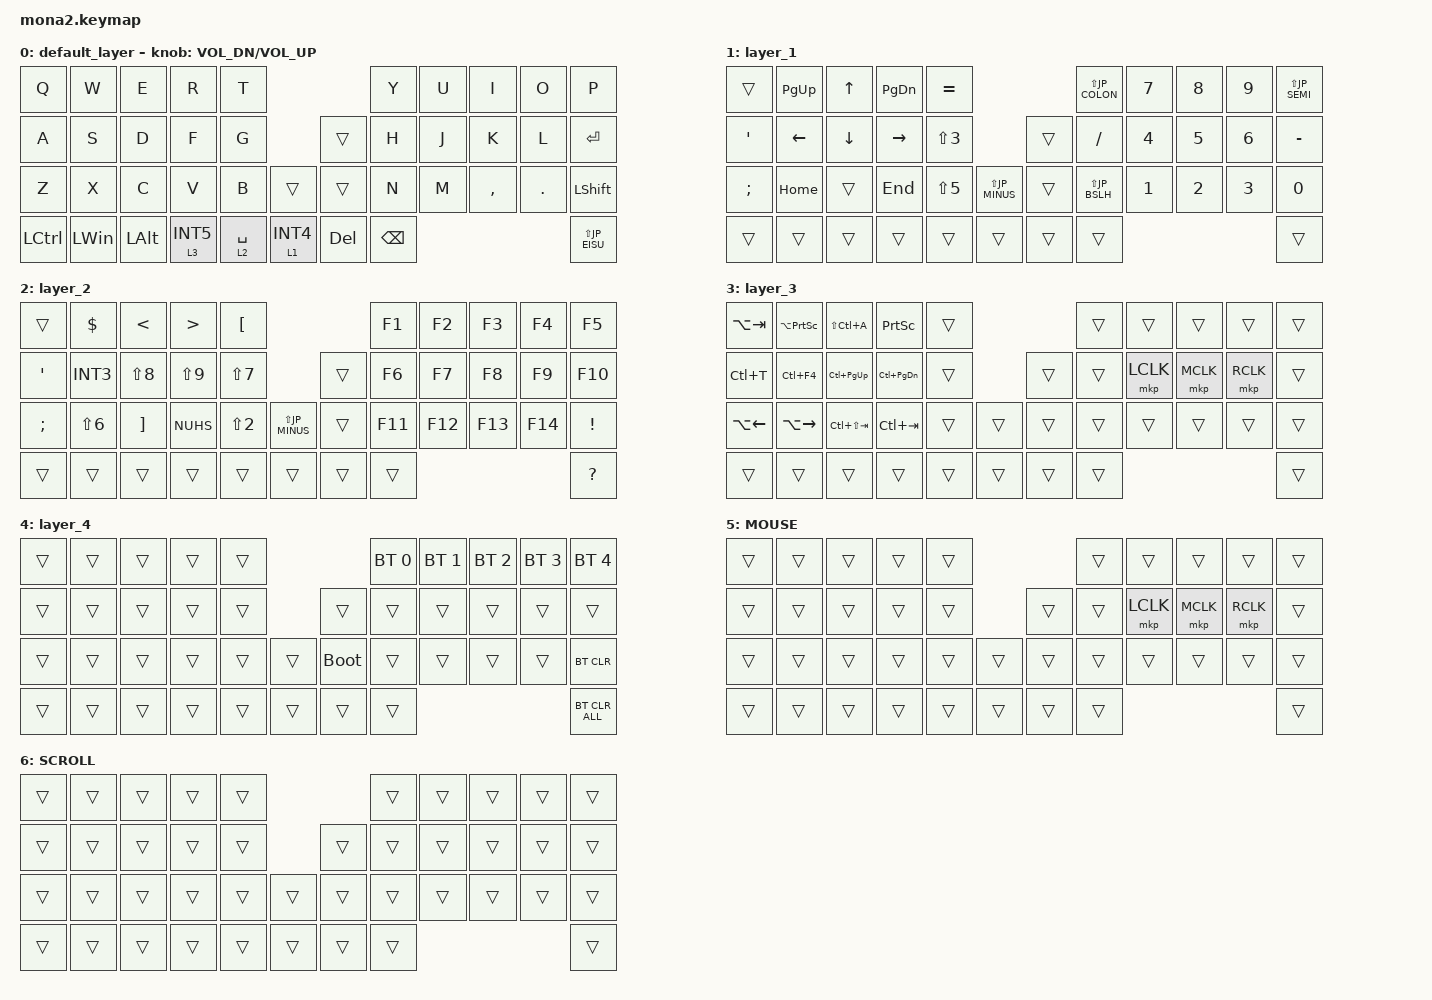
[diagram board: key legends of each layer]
#include <input/processors.dtsi>
#include <dt-bindings/zmk/input_transform.h>
#include <zephyr/dt-bindings/input/input-event-codes.h>
#include <behaviors.dtsi>
#include <dt-bindings/zmk/bt.h>
#include <dt-bindings/zmk/keys.h>
#include <dt-bindings/zmk/pointing.h>

#define ZMK_POINTING_DEFAULT_SCRL_VAL 100
#define MOUSE 5
#define SCROLL 6

// OS設定を日本語キーボードのまま使用するための変換定義

#define JP_ZKHK  GRAVE        // Zenkaku ↔ Hankaku ↔ Kanji (半角 ↔ 全角 ↔ 漢字)
#define JP_MINUS MINUS        // -
#define JP_CARET EQUAL        // ^
#define JP_YEN   INT3         // ¥
#define JP_AT    LBKT         // @
#define JP_LBKT  RBKT         // [
#define JP_EISU  CAPS         // Eisū (英数)
#define JP_SEMI  SEMI         // ;
#define JP_COLON SQT          // :
#define JP_RBKT  NUHS         // ]
#define JP_COMMA COMMA        // ,
#define JP_DOT   DOT          // .
#define JP_SLASH SLASH        // /
#define JP_BSLH  INT1         // (backslash)
#define JP_MHEN  INT5         // Muhenkan (無変換)
#define JP_HENK  INT4         // Henkan (変換)
#define JP_KANA  INT2         // Katakana ↔ Hiragana ↔ Rōmaji (カタカナ ↔ ひらがな ↔ ローマ字)
#define JP_EXCL  LS(N1)       // !
#define JP_DQT   LS(N2)       // "
#define JP_HASH  LS(N3)       // #
#define JP_DLLR  LS(N4)       // $
#define JP_PRCNT LS(N5)       // %
#define JP_AMPS  LS(N6)       // &
#define JP_SQT   LS(N7)       // '
#define JP_LPAR  LS(N8)       // (
#define JP_RPAR  LS(N9)       // )
#define JP_EQUAL LS(JP_MINUS) // =
#define JP_TILDE LS(JP_CARET) // ~
#define JP_PIPE  LS(JP_YEN)   // |
#define JP_GRAVE LS(JP_AT)    // `
#define JP_LBRC  LS(JP_LBKT)  // {
#define JP_CAPS  LS(JP_EISU)  // Caps Lock
#define JP_PLUS  LS(JP_SEMI)  // +
#define JP_ASTRK LS(JP_COLON) // *
#define JP_RBRC  LS(JP_RBKT)  // }
#define JP_LT    LS(JP_COMMA) // <
#define JP_RT    LS(JP_DOT)   // >
#define JP_QMARK LS(JP_SLASH) // ?
#define JP_UNDER LS(JP_BSLH)  // _

&mt {
    flavor = "tap-preferred";
    tapping-term-ms = <150>;
};

&lt {
    flavor = "hold-preferred";
    hold-while-undecided;
};

/ {
    combos {
        compatible = "zmk,combos";

        tab {
            bindings = <&kp TAB>;
            key-positions = <0 1>;
            layers = <0>;
        };

        esc {
            bindings = <&kp ESCAPE>;
            key-positions = <1 2>;
            layers = <0>;
        };

        minus {
            bindings = <&kp MINUS>;
            key-positions = <7 8>;
            layers = <0>;
        };

        tilde {
            bindings = <&kp JP_TILDE>;
            key-positions = <9 8>;
            layers = <0>;
        };

        ins {
            bindings = <&kp INS>;
            key-positions = <29 30>;
            layers = <0>;
        };

        zkhk {
            bindings = <&kp JP_ZKHK>;
            key-positions = <31 30>;
            layers = <0>;
        };

        lclk {
            bindings = <&mkp LCLK>;
            key-positions = <17 18>;
            layers = <0>;
        };

        rclk {
            bindings = <&mkp RCLK>;
            key-positions = <18 19>;
            layers = <0>;
        };

        mclk {
            bindings = <&mkp MCLK>;
            key-positions = <17 19>;
            layers = <0>;
        };
    };

    macros {
        to_layer_0: to_layer_0 {
            compatible = "zmk,behavior-macro-one-param";
            #binding-cells = <1>;
            bindings = <&to 0 &macro_param_1to1 &kp MACRO_PLACEHOLDER>;
            label = "TO_LAYER_0";
        };

        // 左Ctrl ＋ 上スクロール

        ctrl_scroll_up: ctrl_scroll_up {
            compatible = "zmk,behavior-macro";
            #binding-cells = <0>;
            wait-ms = <10>;
            tap-ms = <20>;
            bindings =
                <&macro_press>,
                <&kp LCTRL>,
                <&macro_tap>,
                <&msc SCRL_UP>,
                <&macro_release>,
                <&kp LCTRL>;
        };

        // 左Ctrl ＋ 下スクロール

        ctrl_scroll_down: ctrl_scroll_down {
            compatible = "zmk,behavior-macro";
            #binding-cells = <0>;
            wait-ms = <10>;
            tap-ms = <20>;
            bindings =
                <&macro_press>,
                <&kp LCTRL>,
                <&macro_tap>,
                <&msc SCRL_DOWN>,
                <&macro_release>,
                <&kp LCTRL>;
        };
    };

    behaviors {
        lt_to_layer_0: lt_to_layer_0 {
            compatible = "zmk,behavior-hold-tap";
            label = "LAYER_TAP_TO_0";
            bindings = <&mo>, <&to_layer_0>;

            #binding-cells = <2>;
            tapping-term-ms = <200>;
        };

        scroll_up_down: mouse_wheel_up_down {
            compatible = "zmk,behavior-sensor-rotate";
            #sensor-binding-cells = <0>;
            bindings = <&msc SCRL_DOWN>, <&msc SCRL_UP>;

            tap-ms = <20>;
        };

        scroll_right_left: mouse_wheel_right_left {
            compatible = "zmk,behavior-sensor-rotate";
            #sensor-binding-cells = <0>;
            bindings = <&msc SCRL_LEFT>, <&msc SCRL_RIGHT>;

            tap-ms = <20>;
        };

        ctrl_scroll_up_down: ctrl_mouse_wheel_up_down {
            compatible = "zmk,behavior-sensor-rotate";
            #sensor-binding-cells = <0>;
            bindings = <&ctrl_scroll_down>, <&ctrl_scroll_up>;

            tap-ms = <20>;
        };
    };

    keymap {
        compatible = "zmk,keymap";

        default_layer {
            bindings = <
&kp Q      &kp W         &kp E         &kp R          &kp T                                     &kp Y          &kp U  &kp I      &kp O    &kp P
&kp A      &kp S         &kp D         &kp F          &kp G                         &trans      &kp H          &kp J  &kp K      &kp L    &kp ENTER
&kp Z      &kp X         &kp C         &kp V          &kp B        &trans           &trans      &kp N          &kp M  &kp COMMA  &kp DOT  &kp LEFT_SHIFT
&kp LCTRL  &kp LEFT_WIN  &kp LEFT_ALT  &lt 3 JP_MHEN  &lt 2 SPACE  &lt 1 JP_HENK    &kp DELETE  &kp BACKSPACE                             &kp LS(JP_EISU)
            >;

            sensor-bindings = <&inc_dec_kp C_VOL_DN C_VOL_UP>;
        };

        layer_1 {
            bindings = <
&trans        &kp PAGE_UP     &kp UP_ARROW    &kp PAGE_DOWN    &kp JP_CARET                          &kp JP_ASTRK  &kp N7  &kp N8  &kp N9  &kp JP_PLUS
&kp JP_COLON  &kp LEFT_ARROW  &kp DOWN_ARROW  &kp RIGHT_ARROW  &kp JP_HASH                   &trans  &kp SLASH     &kp N4  &kp N5  &kp N6  &kp MINUS
&kp JP_SEMI   &kp HOME        &trans          &kp END          &kp JP_PRCNT  &kp JP_EQUAL    &trans  &kp JP_UNDER  &kp N1  &kp N2  &kp N3  &kp N0
&trans        &trans          &trans          &trans           &trans        &trans          &trans  &trans                                &trans
            >;
        };

        layer_2 {
            bindings = <
&trans        &kp DOLLAR   &kp LESS_THAN  &kp GREATER_THAN  &kp JP_AT                           &kp F1   &kp F2   &kp F3   &kp F4   &kp F5
&kp JP_COLON  &kp JP_YEN   &kp JP_LPAR    &kp JP_RPAR       &kp JP_SQT                  &trans  &kp F6   &kp F7   &kp F8   &kp F9   &kp F10
&kp JP_SEMI   &kp JP_AMPS  &kp JP_LBKT    &kp JP_RBKT       &kp JP_DQT  &kp JP_EQUAL    &trans  &kp F11  &kp F12  &kp F13  &kp F14  &kp EXCLAMATION
&trans        &trans       &trans         &trans            &trans      &trans          &trans  &trans                              &kp QUESTION
            >;
        };

        layer_3 {
            bindings = <
&kp LA(TAB)         &kp LA(PRINTSCREEN)  &kp LS(LC(A))    &kp PRINTSCREEN    &trans                    &trans  &trans     &trans     &trans     &trans
&kp LC(T)           &kp LC(F4)           &kp LC(PAGE_UP)  &kp LC(PAGE_DOWN)  &trans            &trans  &trans  &mkp LCLK  &mkp MCLK  &mkp RCLK  &trans
&kp LA(LEFT_ARROW)  &kp LA(RIGHT_ARROW)  &kp LC(LS(TAB))  &kp LC(TAB)        &trans  &trans    &trans  &trans  &trans     &trans     &trans     &trans
&trans              &trans               &trans           &trans             &trans  &trans    &trans  &trans                                   &trans
            >;
        };

        layer_4 {
            bindings = <
&trans  &trans  &trans  &trans  &trans                         &bt BT_SEL 0  &bt BT_SEL 1  &bt BT_SEL 2  &bt BT_SEL 3  &bt BT_SEL 4
&trans  &trans  &trans  &trans  &trans            &trans       &trans        &trans        &trans        &trans        &trans
&trans  &trans  &trans  &trans  &trans  &trans    &bootloader  &trans        &trans        &trans        &trans        &bt BT_CLR
&trans  &trans  &trans  &trans  &trans  &trans    &trans       &trans                                                  &bt BT_CLR_ALL
            >;
        };

        MOUSE {
            bindings = <
&trans  &trans  &trans  &trans  &trans                    &trans  &trans     &trans     &trans     &trans
&trans  &trans  &trans  &trans  &trans            &trans  &trans  &mkp LCLK  &mkp MCLK  &mkp RCLK  &trans
&trans  &trans  &trans  &trans  &trans  &trans    &trans  &trans  &trans     &trans     &trans     &trans
&trans  &trans  &trans  &trans  &trans  &trans    &trans  &trans                                   &trans
            >;
        };

        SCROLL {
            bindings = <
&trans  &trans  &trans  &trans  &trans                    &trans  &trans  &trans  &trans  &trans
&trans  &trans  &trans  &trans  &trans            &trans  &trans  &trans  &trans  &trans  &trans
&trans  &trans  &trans  &trans  &trans  &trans    &trans  &trans  &trans  &trans  &trans  &trans
&trans  &trans  &trans  &trans  &trans  &trans    &trans  &trans                          &trans
            >;
        };
    };
};
